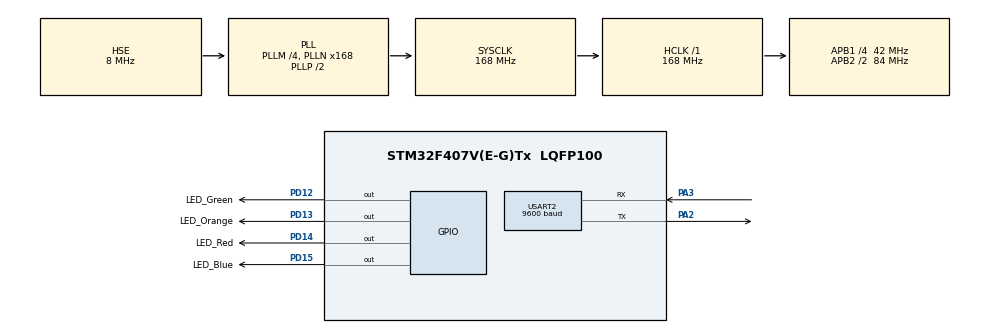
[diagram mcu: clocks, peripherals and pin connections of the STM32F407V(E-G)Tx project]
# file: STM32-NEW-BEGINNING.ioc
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Mcu.Family=STM32F4
RCC.PLLSourceVirtual=RCC_PLLSOURCE_HSE
PD12.GPIO_Label=LED_Green
PH0-OSC_IN.Signal=RCC_OSC_IN
RCC.CortexFreq_Value=168000000
FREERTOS.Tasks01=defaultTask,0,128,StartDefaultTask,Default,NULL,Dynamic,NULL,NULL;eTaskDataRec,1,128,mTaskDataReceiver,Default,NULL,Dynamic,NULL,NULL;eTaskCommandHan,0,128,mTaskCommandHandler,Default,NULL,Dynamic,NULL,NULL
PD15.GPIO_Label=LED_Blue
Dma.USART2_RX.0.Direction=DMA_PERIPH_TO_MEMORY
RCC.APB1CLKDivider=RCC_HCLK_DIV4
USART2.BaudRate=9600
RCC.SYSCLKSource=RCC_SYSCLKSOURCE_PLLCLK
ProjectManager.StackSize=0x400
Dma.USART2_RX.0.Mode=DMA_CIRCULAR
PD13.Signal=GPIO_Output
PA3.Mode=Asynchronous
ProjectManager.TargetToolchain=STM32CubeIDE
NVIC.DMA1_Stream5_IRQn=true\:5\:0\:false\:false\:true\:true\:false\:true
Dma.USART2_RX.0.Priority=DMA_PRIORITY_MEDIUM
Dma.USART2_RX.0.PeriphDataAlignment=DMA_PDATAALIGN_BYTE
RCC.HCLKFreq_Value=168000000
RCC.APB2TimFreq_Value=168000000
RCC.LSE_VALUE=32768
RCC.AHBFreq_Value=168000000
PH0-OSC_IN.Mode=HSE-External-Oscillator
RCC.HSE_VALUE=8000000
board=STM32F407G-DISC1
RCC.VCOOutputFreq_Value=336000000
RCC.APB2Freq_Value=84000000
Dma.USART2_RX.0.MemDataAlignment=DMA_MDATAALIGN_BYTE
VP_SYS_VS_tim1.Mode=TIM1
Dma.USART2_RX.0.Instance=DMA1_Stream5
PH1-OSC_OUT.Signal=RCC_OSC_OUT
PD14.GPIO_Label=LED_Red
VP_FREERTOS_VS_CMSIS_V1.Mode=CMSIS_V1
Mcu.Name=STM32F407V(E-G)Tx
Dma.USART2_RX.0.MemInc=DMA_MINC_ENABLE
PA2.Signal=USART2_TX
PD14.Signal=GPIO_Output
PH1-OSC_OUT.Mode=HSE-External-Oscillator
RCC.48MHZClocksFreq_Value=48000000
RCC.SYSCLKFreq_VALUE=168000000
PD13.GPIO_Label=LED_Orange
Mcu.Package=LQFP100
NVIC.TimeBase=TIM1_UP_TIM10_IRQn
Dma.USART2_RX.0.PeriphInc=DMA_PINC_DISABLE
USART2.VirtualMode=VM_ASYNC
Dma.USART2_RX.0.FIFOMode=DMA_FIFOMODE_DISABLE
PD12.Signal=GPIO_Output
NVIC.TimeBaseIP=TIM1
ProjectManager.HeapSize=0x200
NVIC.TIM1_UP_TIM10_IRQn=true\:0\:0\:false\:false\:true\:false\:false\:true
RCC.HSI_VALUE=16000000
RCC.PLLQ=7
NVIC.PriorityGroup=NVIC_PRIORITYGROUP_4
RCC.APB2CLKDivider=RCC_HCLK_DIV2
RCC.PLLM=4
RCC.PLLN=168
RCC.APB1TimFreq_Value=84000000
PA2.Mode=Asynchronous
Dma.Request0=USART2_RX
RCC.APB1Freq_Value=42000000
PD15.Signal=GPIO_Output
PA3.Signal=USART2_RX

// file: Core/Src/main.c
/* USER CODE BEGIN Header */
/**
  ******************************************************************************
  * @file           : main.c
  * @brief          : Main program body
  ******************************************************************************
  * @attention
  *
  * <h2><center>&copy; Copyright (c) 2025 STMicroelectronics.
  * All rights reserved.</center></h2>
  *
  * This software component is licensed by ST under BSD 3-Clause license,
  * the "License"; You may not use this file except in compliance with the
  * License. You may obtain a copy of the License at:
  *                        opensource.org/licenses/BSD-3-Clause
  *
  ******************************************************************************
  */
/* USER CODE END Header */
#include "main.h"
#include "cmsis_os.h"

UART_HandleTypeDef huart2;
DMA_HandleTypeDef hdma_usart2_rx;

osThreadId defaultTaskHandle;
osThreadId eTaskDataRecHandle;
osThreadId eTaskCommandHanHandle;

void SystemClock_Config(void);
static void MX_GPIO_Init(void);
static void MX_DMA_Init(void);
static void MX_USART2_UART_Init(void);
void StartDefaultTask(void const * argument);
void mTaskDataReceiver(void const * argument);
void mTaskCommandHandler(void const * argument);

int main(void)
{

  /* MCU Configuration--------------------------------------------------------*/

  /* Reset of all peripherals, Initializes the Flash interface and the Systick. */
  HAL_Init();

  /* Configure the system clock */
  SystemClock_Config();

  /* Initialize all configured peripherals */
  MX_GPIO_Init();
  MX_DMA_Init();
  MX_USART2_UART_Init();

  /* Create the thread(s) */
  /* definition and creation of defaultTask */
  osThreadDef(defaultTask, StartDefaultTask, osPriorityNormal, 0, 128);
  defaultTaskHandle = osThreadCreate(osThread(defaultTask), NULL);

  /* definition and creation of eTaskDataRec */
  osThreadDef(eTaskDataRec, mTaskDataReceiver, osPriorityAboveNormal, 0, 128);
  eTaskDataRecHandle = osThreadCreate(osThread(eTaskDataRec), NULL);

  /* definition and creation of eTaskCommandHan */
  osThreadDef(eTaskCommandHan, mTaskCommandHandler, osPriorityNormal, 0, 128);
  eTaskCommandHanHandle = osThreadCreate(osThread(eTaskCommandHan), NULL);

  /* Start scheduler */
  osKernelStart();

  /* We should never get here as control is now taken by the scheduler */
  /* Infinite loop */
  while (1)
  {

  }
}

void SystemClock_Config(void)
{
  RCC_OscInitTypeDef RCC_OscInitStruct = {0};
  RCC_ClkInitTypeDef RCC_ClkInitStruct = {0};

  /** Configure the main internal regulator output voltage
  */
  __HAL_RCC_PWR_CLK_ENABLE();
  __HAL_PWR_VOLTAGESCALING_CONFIG(PWR_REGULATOR_VOLTAGE_SCALE1);
  /** Initializes the RCC Oscillators according to the specified parameters
  * in the RCC_OscInitTypeDef structure.
  */
  RCC_OscInitStruct.OscillatorType = RCC_OSCILLATORTYPE_HSE;
  RCC_OscInitStruct.HSEState = RCC_HSE_ON;
  RCC_OscInitStruct.PLL.PLLState = RCC_PLL_ON;
  RCC_OscInitStruct.PLL.PLLSource = RCC_PLLSOURCE_HSE;
  RCC_OscInitStruct.PLL.PLLM = 4;
  RCC_OscInitStruct.PLL.PLLN = 168;
  RCC_OscInitStruct.PLL.PLLP = RCC_PLLP_DIV2;
  RCC_OscInitStruct.PLL.PLLQ = 7;
  if (HAL_RCC_OscConfig(&RCC_OscInitStruct) != HAL_OK)
  {
    Error_Handler();
  }
  /** Initializes the CPU, AHB and APB buses clocks
  */
  RCC_ClkInitStruct.ClockType = RCC_CLOCKTYPE_HCLK|RCC_CLOCKTYPE_SYSCLK
                              |RCC_CLOCKTYPE_PCLK1|RCC_CLOCKTYPE_PCLK2;
  RCC_ClkInitStruct.SYSCLKSource = RCC_SYSCLKSOURCE_PLLCLK;
  RCC_ClkInitStruct.AHBCLKDivider = RCC_SYSCLK_DIV1;
  RCC_ClkInitStruct.APB1CLKDivider = RCC_HCLK_DIV4;
  RCC_ClkInitStruct.APB2CLKDivider = RCC_HCLK_DIV2;

  if (HAL_RCC_ClockConfig(&RCC_ClkInitStruct, FLASH_LATENCY_5) != HAL_OK)
  {
    Error_Handler();
  }
}

static void MX_USART2_UART_Init(void)
{

  huart2.Instance = USART2;
  huart2.Init.BaudRate = 9600;
  huart2.Init.WordLength = UART_WORDLENGTH_8B;
  huart2.Init.StopBits = UART_STOPBITS_1;
  huart2.Init.Parity = UART_PARITY_NONE;
  huart2.Init.Mode = UART_MODE_TX_RX;
  huart2.Init.HwFlowCtl = UART_HWCONTROL_NONE;
  huart2.Init.OverSampling = UART_OVERSAMPLING_16;
  if (HAL_UART_Init(&huart2) != HAL_OK)
  {
    Error_Handler();
  }

}

static void MX_DMA_Init(void)
{

  /* DMA controller clock enable */
  __HAL_RCC_DMA1_CLK_ENABLE();

  /* DMA interrupt init */
  /* DMA1_Stream5_IRQn interrupt configuration */
  HAL_NVIC_SetPriority(DMA1_Stream5_IRQn, 5, 0);
  HAL_NVIC_EnableIRQ(DMA1_Stream5_IRQn);

}

static void MX_GPIO_Init(void)
{
  GPIO_InitTypeDef GPIO_InitStruct = {0};

  /* GPIO Ports Clock Enable */
  __HAL_RCC_GPIOH_CLK_ENABLE();
  __HAL_RCC_GPIOA_CLK_ENABLE();
  __HAL_RCC_GPIOD_CLK_ENABLE();

  /*Configure GPIO pin Output Level */
  HAL_GPIO_WritePin(GPIOD, LED_Green_Pin|LED_Orange_Pin|LED_Red_Pin|LED_Blue_Pin, GPIO_PIN_RESET);

  /*Configure GPIO pins : LED_Green_Pin LED_Orange_Pin LED_Red_Pin LED_Blue_Pin */
  GPIO_InitStruct.Pin = LED_Green_Pin|LED_Orange_Pin|LED_Red_Pin|LED_Blue_Pin;
  GPIO_InitStruct.Mode = GPIO_MODE_OUTPUT_PP;
  GPIO_InitStruct.Pull = GPIO_NOPULL;
  GPIO_InitStruct.Speed = GPIO_SPEED_FREQ_LOW;
  HAL_GPIO_Init(GPIOD, &GPIO_InitStruct);

}

void StartDefaultTask(void const * argument)
{
  for(;;)
  {
    osDelay(1);
  }
}

void mTaskDataReceiver(void const * argument)
{
  /* USER CODE BEGIN mTaskDataReceiver */
  uint8_t receivedData = 0;
  tCommandStruct receivedCommand = eCommandStart;
  uint8_t receivedDataContent[10];
  uint8_t receivedLength = 0;
  uint8_t currentLength = 0;
  uint8_t receivedCRC = 0;
  uint8_t calculatedCRC;
  tDataStruct currentState = eDataSOH;// Variable to store received data

  /* Infinite loop */
  for(;;)
  {
	  receivedData = HAL_UART_Receive_DMA(&huart2, &receivedData, sizeof(receivedData));

	  HAL_UART_Transmit(&huart2, &receivedData, sizeof(receivedData), 10);

	  switch (currentState)
	  {
		case eDataSOH:
			if(receivedData == mSourceOfHeader)
			{
				currentState = eDataCommand;
			}
			break;

		case eDataCommand:
			calculatedCRC += receivedData;
			if (receivedData)
			{
				receivedCommand = receivedData;
				currentState = eDataLength;
			}
			break;

		case eDataLength:
			calculatedCRC += receivedData;
			if(receivedData)
			{
				receivedLength = receivedData;
				currentState = eDataContent;
			}
			else
			{
				currentState = eDataCRC;
			}
			break;

		case eDataContent:
			// CODE
			while(currentLength < receivedLength)
			{
				receivedDataContent[currentLength] = receivedData;
				calculatedCRC += receivedData;
				currentLength++;
			}
			currentState = eDataCRC;
			break;

		case eDataCRC:
			if(receivedCRC == calculatedCRC)
			{
				currentState = eDataEOH;
			}
			else
			{
				currentState = eDataSOH;
				memcpy(&receivedDataContent, 0, receivedLength);
			}
			break;

		case eDataEOH:
			if(receivedData == eDataEOH)
			{
				// sendDataToQueue
			}
			break;

		default:
			break;
	}

    osDelay(1);
  }
  /* USER CODE END mTaskDataReceiver */
}

void mTaskCommandHandler(void const * argument)
{
  for(;;)
  {
    osDelay(1);
  }
}

 /**
  * @brief  Period elapsed callback in non blocking mode
  * @note   This function is called  when TIM1 interrupt took place, inside
  * HAL_TIM_IRQHandler(). It makes a direct call to HAL_IncTick() to increment
  * a global variable "uwTick" used as application time base.
  * @param  htim : TIM handle
  * @retval None
  */
void HAL_TIM_PeriodElapsedCallback(TIM_HandleTypeDef *htim)
{
  if (htim->Instance == TIM1) {
    HAL_IncTick();
  }
}

void Error_Handler(void)
{
  __disable_irq();
  while (1)
  {
  }
}

/************************ (C) COPYRIGHT STMicroelectronics *****END OF FILE****/
